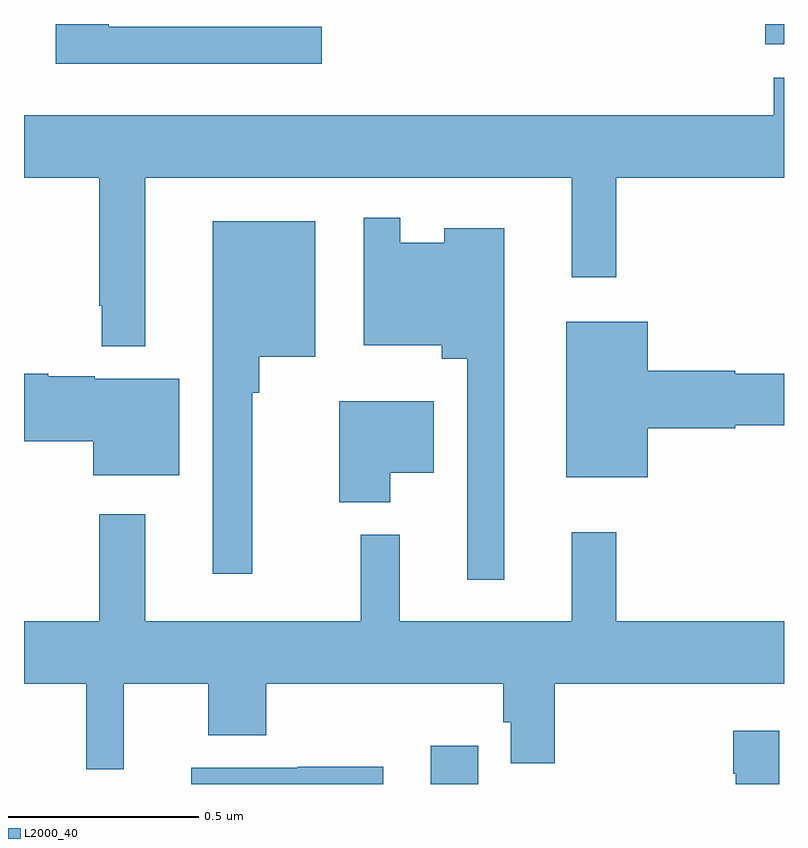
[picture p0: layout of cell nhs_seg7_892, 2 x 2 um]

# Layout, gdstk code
import gdstk
lib = gdstk.Library(unit=1e-6, precision=1e-09)
def R(c, l, rs):  # rectangles x0, y0, x1, y1
    for r in rs: c.add(gdstk.rectangle(r[:2], r[2:], *l))
def P(c, l, *ps):  # polygons
    for p in ps: c.add(gdstk.Polygon(p, *l))
L2000_40 = (2000, 40)

nhs_seg7_892 = lib.new_cell('nhs_seg7_892')
R(nhs_seg7_892, L2000_40, [(124.071,1019,124.196,1019.101), (124.951,1020.947,125,1021)])
P(nhs_seg7_892, L2000_40, [(123.784,1020.993),(123.223,1020.993),(123.223,1021),(123.083,1021),(123.083,1020.896),(123.784,1020.896)],
  [(123,1020.596),(123.198,1020.596),(123.198,1020.259),(123.205,1020.259),(123.205,1020.152),(123.319,1020.152),(123.319,1020.596),(124.442,1020.596),(124.442,1020.333),(124.559,1020.333),(124.559,1020.596),(125,1020.596),(125,1020.859),(124.973,1020.859),(124.973,1020.76),(123,1020.76)],
  [(124.264,1020.463),(124.106,1020.463),(124.106,1020.424),(123.99,1020.424),(123.99,1020.49),(123.894,1020.49),(123.894,1020.155),(124.099,1020.155),(124.099,1020.119),(124.167,1020.119),(124.167,1019.538),(124.264,1019.538)],
  [(123.601,1020.029),(123.619,1020.029),(123.619,1020.125),(123.766,1020.125),(123.766,1020.481),(123.497,1020.481),(123.497,1019.553),(123.601,1019.553)],
  [(124.642,1019.936),(124.872,1019.936),(124.872,1019.944),(125,1019.944),(125,1020.08),(124.872,1020.08),(124.872,1020.088),(124.642,1020.088),(124.642,1020.217),(124.427,1020.217),(124.427,1019.807),(124.642,1019.807)],
  [(123.409,1020.067),(123.186,1020.067),(123.186,1020.073),(123.064,1020.073),(123.064,1020.08),(123,1020.08),(123,1019.902),(123.182,1019.902),(123.182,1019.813),(123.409,1019.813)],
  [(123.964,1019.819),(124.078,1019.819),(124.078,1020.007),(123.83,1020.007),(123.83,1019.741),(123.964,1019.741)],
  [(123.263,1019.264),(123.485,1019.264),(123.485,1019.128),(123.638,1019.128),(123.638,1019.264),(124.261,1019.264),(124.261,1019.163),(124.281,1019.163),(124.281,1019.054),(124.397,1019.054),(124.397,1019.264),(125,1019.264),(125,1019.428),(124.559,1019.428),(124.559,1019.662),(124.442,1019.662),(124.442,1019.428),(123.989,1019.428),(123.989,1019.656),(123.886,1019.656),(123.886,1019.428),(123.319,1019.428),(123.319,1019.71),(123.198,1019.71),(123.198,1019.428),(123,1019.428),(123,1019.264),(123.164,1019.264),(123.164,1019.039),(123.263,1019.039)],
  [(124.987,1019.14),(124.866,1019.14),(124.866,1019.027),(124.873,1019.027),(124.873,1019),(124.987,1019)],
  [(123.946,1019.046),(123.721,1019.046),(123.721,1019.043),(123.44,1019.043),(123.44,1019),(123.946,1019)])

lib.write_gds('nhs_seg7_892.gds')
